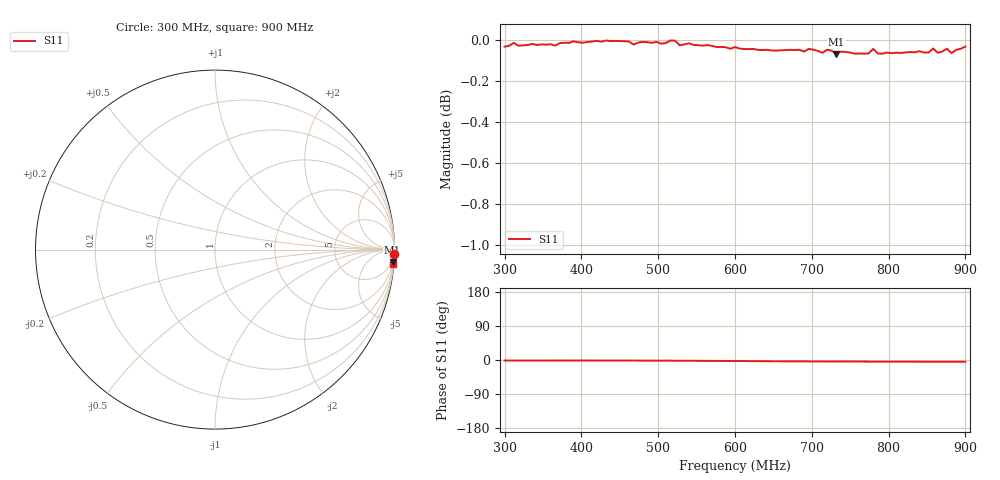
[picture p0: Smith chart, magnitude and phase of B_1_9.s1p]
# HZ S RI R 50
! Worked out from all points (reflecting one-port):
!   101 points, 300 MHz to 900 MHz, reference 50 ohm
!   lowest |S11| = -0.1 dB at 732 MHz (marker M1), VSWR 246.67, Z = 164 - j1.41e+03 ohm
!   phase of S11 starts at -1 deg and turns -3 deg over the sweep
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3e8  0.9958 -0.0243
3.12e8  0.9978 -0.0247
3.18e8  0.9963 -0.0246
3.78e8  0.998 -0.0229
4.5e8  0.9988 -0.0253
4.68e8  0.9969 -0.0246
4.86e8  0.9981 -0.029
5.16e8  0.999 -0.0321
5.28e8  0.9963 -0.0339
6e8  0.9947 -0.0468
6.3e8  0.9928 -0.0546
6.78e8  0.9922 -0.0635
7.14e8  0.9903 -0.0677
7.2e8  0.992 -0.0682
7.32e8  0.9895 -0.0692
7.5e8  0.9902 -0.0718
7.74e8  0.9895 -0.0735
7.8e8  0.9918 -0.0769
7.86e8  0.9895 -0.074
8.28e8  0.9901 -0.0771
8.52e8  0.9896 -0.0792
8.58e8  0.9919 -0.0792
8.64e8  0.9895 -0.079
8.7e8  0.9902 -0.0786
8.76e8  0.9917 -0.0792
8.82e8  0.9892 -0.08
8.88e8  0.9909 -0.0819
9e8  0.9929 -0.079
